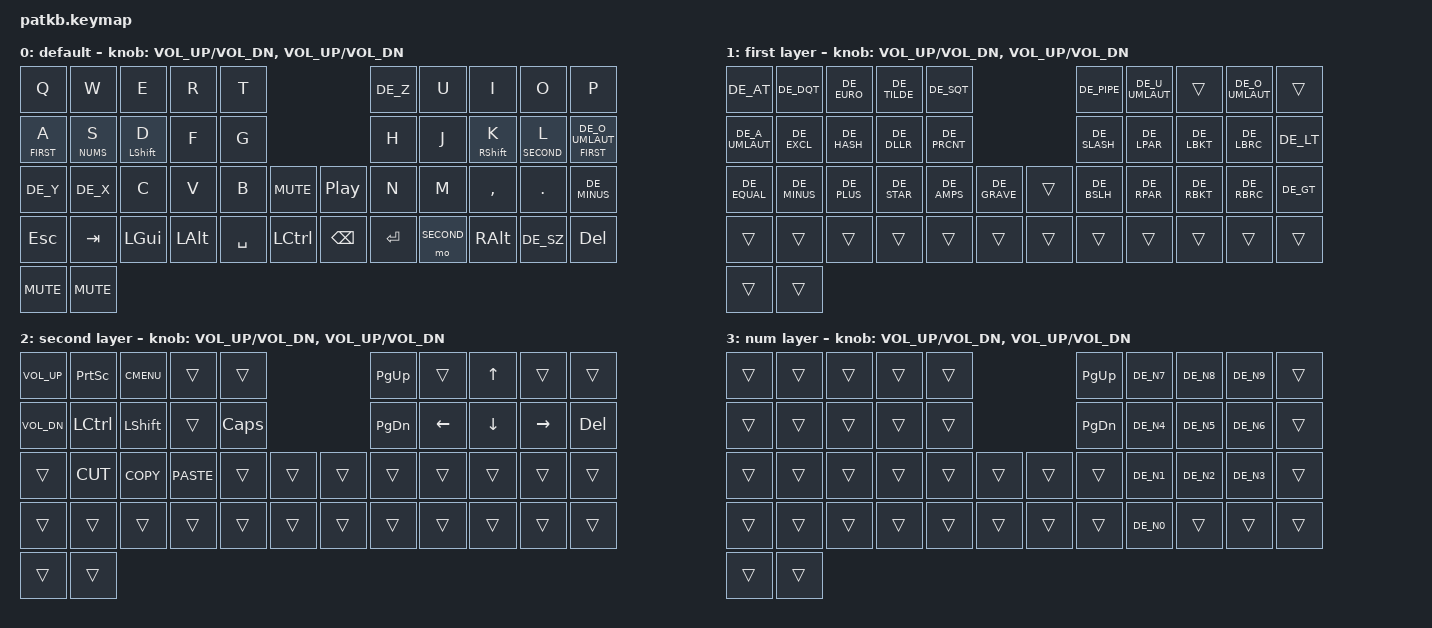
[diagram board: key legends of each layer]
#include <behaviors.dtsi>
#include <dt-bindings/zmk/keys.h>
#include <dt-bindings/zmk/bt.h>
#include <dt-bindings/zmk/rgb.h>
#include <dt-bindings/zmk/ext_power.h>
#include <dt-bindings/zmk/pointing.h>
#include <locale/keys_de.h>

#define BASE 0
#define FIRST 1
#define SECOND 2
#define NUMS 3

/ {
  behaviors {
        lt: layer_tap {
            compatible = "zmk,behavior-hold-tap";
            #binding-cells = <2>;
            flavor = "balanced";
            require-prior-idle-ms = <150>;
            tapping-term-ms = <280>;
            bindings = <&mo>, <&kp>;
            display-name = "Layer-Tap";
            quick-tap-ms = <175>;
        };
        mt: mod_tap {
            compatible = "zmk,behavior-hold-tap";
            #binding-cells = <2>;
            flavor = "balanced";
            require-prior-idle-ms = <150>;
            tapping-term-ms = <280>;
            bindings = <&kp>, <&kp>;
            display-name = "Mod-Tap";
            quick-tap-ms = <175>;
        };
    };

    keymap {
        compatible = "zmk,keymap";

        default_layer {
            display-name = "default";
// ------------------------------------------------------------------------------------------------------------
// |  Q  |  W  |  E   |  R   |  T   |                        |  Y   |  U    |  I    |  O   |   P   |
// |  A  |  S  |  D   |  F   |  G   |                        |  H   |  J    |  K    |  L   |   Ö   |
// |  Z  |  X  |  C   |  V   |  B   |  MUTE  |  | PLAY/PAUSE |  N   |  M    |  ,    |  .   |   -   |
// | ESC | GUI | ALT  | TAB  | SPACE|  CTRL  |  | BSPACE     | RET  | CTRL  | ALT   |  ß   | ENTF  |
             bindings = <
&kp Q        &kp W        &kp E        &kp R     &kp T                                &kp DE_Z  &kp U        &kp I        &kp O        &kp P
&lt FIRST A  &lt NUMS S   &mt LSHFT D  &kp F     &kp G                                &kp H     &kp J        &mt RSHFT K  &lt SECOND L &lt FIRST DE_O_UMLAUT 
&kp DE_Y     &kp DE_X     &kp C        &kp V     &kp B      &kp C_MUTE     &kp C_PP   &kp N     &kp M        &kp COMMA    &kp DOT      &kp DE_MINUS
&kp ESC      &kp TAB      &kp LGUI     &kp LALT  &kp SPACE  &kp LCTRL      &kp BSPC   &kp RET   &mo SECOND   &kp RALT     &kp DE_SZ    &kp DEL
 // encoder push buttons (left, right)
&kp C_MUTE  &kp C_MUTE
            >;
            sensor-bindings = <&inc_dec_kp C_VOL_UP C_VOL_DN &inc_dec_kp C_VOL_UP C_VOL_DN>;
        };

        first_layer {
            display-name = "first layer";
// ------------------------------------------------------------------------------------------------------------
// |  @  |  "  |  €   |  ~   |  '      |                   |  |   |  ü    |  x    |  ö   |   x   |
// |  ä  |  !  |  #   |  $   |  %      |                   |  /   |  (    |  [    |  {   |   <   |
// |  =  |  -  |  +   |  *   |  &      |   ´    |  |       |  \   |  )    |  ]    |  }   |   >   |
//       |     |      |      |         |        |  |       |      |       |       |      |
            bindings = <
&kp DE_AT        &kp DE_DQT     &kp DE_EURO   &kp DE_TILDE &kp DE_SQT                             &kp DE_PIPE   &kp DE_U_UMLAUT  &trans       &kp DE_O_UMLAUT &trans
&kp DE_A_UMLAUT  &kp DE_EXCL    &kp DE_HASH   &kp DE_DLLR  &kp DE_PRCNT                           &kp DE_SLASH  &kp DE_LPAR      &kp DE_LBKT  &kp DE_LBRC     &kp DE_LT
&kp DE_EQUAL     &kp DE_MINUS   &kp DE_PLUS   &kp DE_STAR  &kp DE_AMPS   &kp DE_GRAVE   &trans    &kp DE_BSLH   &kp DE_RPAR      &kp DE_RBKT  &kp DE_RBRC     &kp DE_GT
&trans           &trans         &trans        &trans       &trans        &trans         &trans    &trans        &trans           &trans       &trans          &trans
// encoder push buttons (left, right)
&trans  &trans
            >;
            sensor-bindings = <&inc_dec_kp C_VOL_UP C_VOL_DN &inc_dec_kp C_VOL_UP C_VOL_DN>;
        };

        second_layer {
            display-name = "second layer";
// ------------------------------------------------------------------------------------------------------------
// |AUDIOUP| PSCR | GUI   |       |      |                | PGUP |      |   ^   |      |       |
// |AUDIODW| CTRL | SHIFT |       | CAPS |                | PGDN |   <- |   v   |  ->  |  DEL  |
// |       | CUT  | COPY  | PASTE |      |      |  |      |      |      |       |      |       |
//                |       |       |      |      |  |      |      |      |       |      |       |
            bindings = <
&kp C_VOL_UP  &kp PSCRN    &kp K_CMENU  &trans       &trans                        &kp PG_UP &trans    &kp UP   &trans    &trans 
&kp C_VOL_DN  &kp LCTRL    &kp LSHFT    &trans       &kp CLCK                      &kp PG_DN &kp LEFT  &kp DOWN &kp RIGHT &kp DEL
&trans        &kp K_CUT    &kp K_COPY   &kp K_PASTE  &trans     &trans    &trans   &trans    &trans    &trans   &trans    &trans 
&trans        &trans       &trans       &trans       &trans     &trans    &trans   &trans    &trans    &trans    &trans    &trans
// encoder push buttons (left, right)
&trans  &trans
            >;
            sensor-bindings = <&inc_dec_kp C_VOL_UP C_VOL_DN &inc_dec_kp C_VOL_UP C_VOL_DN>;
        };

        num_layer {
            display-name = "num layer";
// ------------------------------------------------------------------------------------------------------------
// |      |      |       |       |      |                | PGUP |   7  |   8   |  9   |       |
// |      |      |       |       |      |                | PGDN |   4  |   5   |  6   |       |
// |      |      |       |       |      |      |  |      |      |   1  |   2   |  3   |       |
// |      |      |       |       |      |      |  |      |      |   0  |       |      |       |
            bindings = <
&trans   &trans  &trans  &trans  &trans                    &kp PG_UP &kp DE_N7       &kp DE_N8       &kp DE_N9       &trans
&trans   &trans  &trans  &trans  &trans                    &kp PG_DN &kp DE_N4       &kp DE_N5       &kp DE_N6       &trans
&trans   &trans  &trans  &trans  &trans  &trans    &trans  &trans    &kp DE_N1       &kp DE_N2       &kp DE_N3       &trans
&trans   &trans  &trans  &trans  &trans  &trans    &trans  &trans    &kp DE_N0       &trans          &trans          &trans 
// encoder push buttons (left, right)
&trans  &trans
            >;
            sensor-bindings = <&inc_dec_kp C_VOL_UP C_VOL_DN &inc_dec_kp C_VOL_UP C_VOL_DN>;
        };
    };
};

